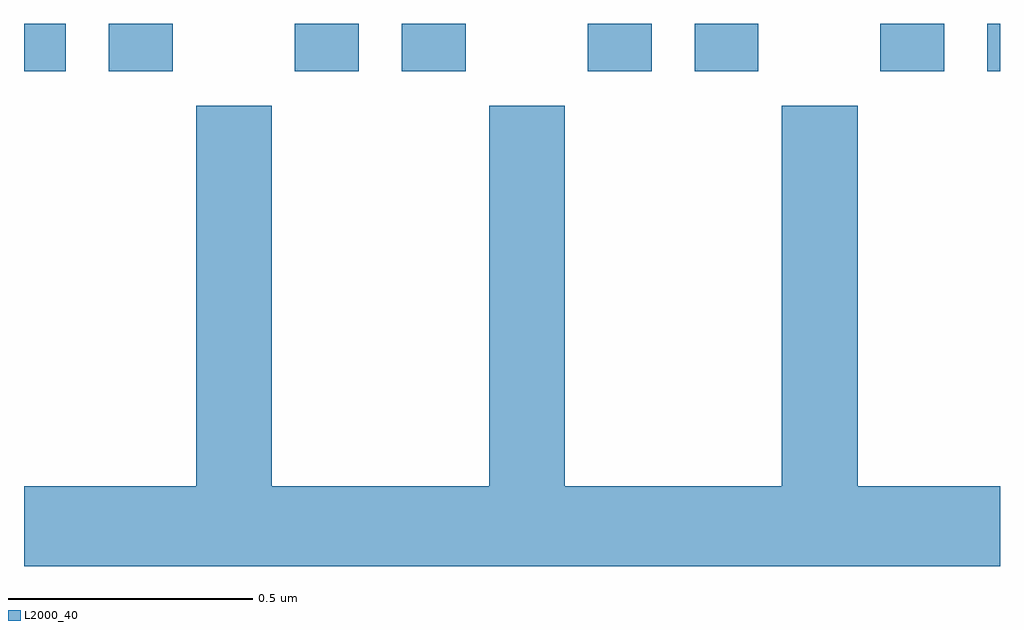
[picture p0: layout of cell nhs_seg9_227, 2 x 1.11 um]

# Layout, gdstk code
import gdstk
lib = gdstk.Library(unit=1e-6, precision=1e-09)
def R(c, l, rs):  # rectangles x0, y0, x1, y1
    for r in rs: c.add(gdstk.rectangle(r[:2], r[2:], *l))
def P(c, l, *ps):  # polygons
    for p in ps: c.add(gdstk.Polygon(p, *l))
L2000_40 = (2000, 40)

nhs_seg9_227 = lib.new_cell('nhs_seg9_227')
R(nhs_seg9_227, L2000_40, [(113,1229.403,113.086,1229.5), (113.174,1229.403,113.305,1229.5), (113.555,1229.403,113.686,1229.5), (113.774,1229.403,113.905,1229.5), (114.155,1229.403,114.286,1229.5), (114.374,1229.403,114.505,1229.5), (114.755,1229.403,114.886,1229.5), (114.974,1229.403,115,1229.5)])
P(nhs_seg9_227, L2000_40, [(115,1228.552),(114.708,1228.552),(114.708,1229.332),(114.553,1229.332),(114.553,1228.552),(114.108,1228.552),(114.108,1229.332),(113.953,1229.332),(113.953,1228.552),(113.508,1228.552),(113.508,1229.332),(113.353,1229.332),(113.353,1228.552),(113,1228.552),(113,1228.388),(115,1228.388)])

lib.write_gds('nhs_seg9_227.gds')
